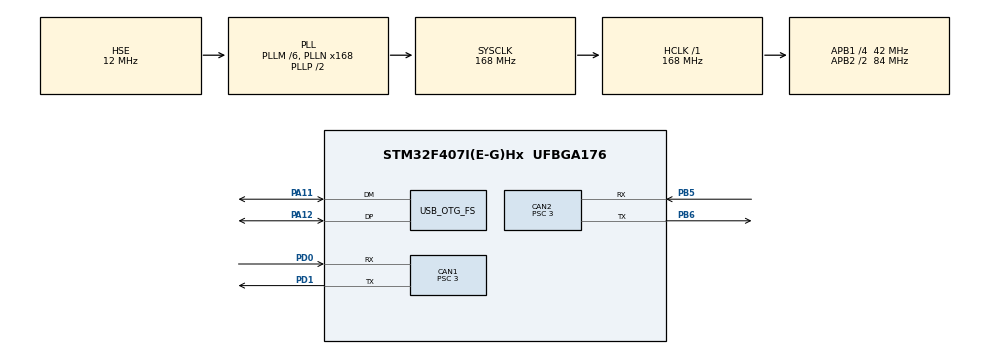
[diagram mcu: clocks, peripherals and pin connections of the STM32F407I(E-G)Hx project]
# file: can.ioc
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CAN1.BS1=CAN_BS1_10TQ
CAN1.BS2=CAN_BS2_3TQ
CAN1.CalculateBaudRate=1000000
CAN1.CalculateTimeBit=1000
CAN1.CalculateTimeQuantum=71.42857142857143
CAN1.Prescaler=3
CAN2.BS1=CAN_BS1_10TQ
CAN2.BS2=CAN_BS2_3TQ
CAN2.CalculateBaudRate=1000000
CAN2.CalculateTimeBit=1000
CAN2.CalculateTimeQuantum=71.42857142857143
CAN2.Prescaler=3
Mcu.Family=STM32F4
Mcu.Name=STM32F407I(E-G)Hx
Mcu.Package=UFBGA176
NVIC.CAN1_RX0_IRQn=true\:0\:0\:false\:false\:true\:true\:true\:true
NVIC.CAN2_RX0_IRQn=true\:0\:0\:false\:false\:true\:true\:true\:true
NVIC.OTG_FS_IRQn=true\:0\:0\:false\:false\:true\:false\:true\:true
NVIC.PriorityGroup=NVIC_PRIORITYGROUP_4
PA11.Mode=Device_Only
PA11.Signal=USB_OTG_FS_DM
PA12.Mode=Device_Only
PA12.Signal=USB_OTG_FS_DP
PA13.Mode=Serial_Wire
PA13.Signal=SYS_JTMS-SWDIO
PA14.Mode=Serial_Wire
PA14.Signal=SYS_JTCK-SWCLK
PB5.Mode=CAN_Activate
PB5.Signal=CAN2_RX
PB6.Mode=CAN_Activate
PB6.Signal=CAN2_TX
PD0.Mode=CAN_Activate
PD0.Signal=CAN1_RX
PD1.Mode=CAN_Activate
PD1.Signal=CAN1_TX
PH0-OSC_IN.Mode=HSE-External-Oscillator
PH0-OSC_IN.Signal=RCC_OSC_IN
PH1-OSC_OUT.Mode=HSE-External-Oscillator
PH1-OSC_OUT.Signal=RCC_OSC_OUT
ProjectManager.HeapSize=0x200
ProjectManager.StackSize=0x400
ProjectManager.TargetToolchain=MDK-ARM V5
RCC.48MHZClocksFreq_Value=48000000
RCC.AHBFreq_Value=168000000
RCC.APB1CLKDivider=RCC_HCLK_DIV4
RCC.APB1Freq_Value=42000000
RCC.APB1TimFreq_Value=84000000
RCC.APB2CLKDivider=RCC_HCLK_DIV2
RCC.APB2Freq_Value=84000000
RCC.APB2TimFreq_Value=168000000
RCC.CortexFreq_Value=168000000
RCC.HCLKFreq_Value=168000000
RCC.HSE_VALUE=12000000
RCC.HSI_VALUE=16000000
RCC.LSE_VALUE=32768
RCC.PLLM=6
RCC.PLLN=168
RCC.PLLQ=7
RCC.SYSCLKFreq_VALUE=168000000
RCC.SYSCLKSource=RCC_SYSCLKSOURCE_PLLCLK
RCC.VCOOutputFreq_Value=336000000
USB_DEVICE.CLASS_NAME_FS=CDC
USB_DEVICE.VirtualMode-CDC_FS=Cdc
USB_DEVICE.VirtualModeFS=Cdc_FS
USB_OTG_FS.VirtualMode=Device_Only
VP_USB_DEVICE_VS_USB_DEVICE_CDC_FS.Mode=CDC_FS
board=custom

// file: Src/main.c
/* USER CODE BEGIN Header */
/**
  ******************************************************************************
  * @file           : main.c
  * @brief          : Main program body
  ******************************************************************************
  * @attention
  *
  * <h2><center>&copy; Copyright (c) 2019 STMicroelectronics.
  * All rights reserved.</center></h2>
  *
  * This software component is licensed by ST under BSD 3-Clause license,
  * the "License"; You may not use this file except in compliance with the
  * License. You may obtain a copy of the License at:
  *                        opensource.org/licenses/BSD-3-Clause
  *
  ******************************************************************************
  */
/* USER CODE END Header */
#include "main.h"
#include "can.h"
#include "usb_device.h"
#include "gpio.h"

/* USER CODE BEGIN Includes */
#include "bsp_can.h"
#include "CAN_receive.h"
#include "stdio.h"
#include "usbd_cdc_if.h"

/* USER CODE END Includes */

/* USER CODE BEGIN PTD */
const motor_measure_t *motor_2006_t;
spin_record_typedef spin_record_t;
int set_speed = 1000;
struct {
	float kp;
	float ki;
	float kd;
	int16_t err;
	int16_t out;
}pid_t;
/* USER CODE END PTD */

/* USER CODE BEGIN PD */
int64_t motor_ecd_handler(void)
{
	static uint16_t temp_last_ecd;
	static int ecd_count ;  		//��̬���ۼ�
	static int64_t total_ecd;

	int32_t diff = (int32_t)motor_2006_t->ecd - (int32_t)temp_last_ecd;

	if(diff > 4096)
	{
		ecd_count--;
		diff -= 8192;

	}
	if(diff < -4096)
	{
		ecd_count++;
		diff += 8192;
	}

	total_ecd += diff;
	temp_last_ecd = motor_2006_t->ecd;
	return total_ecd;
}

void pid_cacl(int16_t set,int16_t feed){
	static int16_t iout;
	pid_t.err = set - feed;
	int32_t pout = (pid_t.kp*pid_t.err);
	if(pid_t.err > 20)iout += (int16_t)(pid_t.ki*pid_t.err);
	else iout = 0;
	int16_t dout = (int16_t)(pid_t.kd*pid_t.err);

	int32_t out = pout+iout+dout;

	if(out >10000)out = 10000;
	else if(out < -10000)out = -10000;

	pid_t.out = (int16_t)out;
}

void motor_foward(){
	pid_cacl(set_speed,motor_2006_t->speed_rpm);
	CAN_cmd_chassis(pid_t.out,0,0,0);
}

void motor_back(){
	pid_cacl(-set_speed,motor_2006_t->speed_rpm);
	CAN_cmd_chassis(pid_t.out,0,0,0);
}
void motor_stop(){
	pid_cacl(0,motor_2006_t->speed_rpm);
	CAN_cmd_chassis(pid_t.out,0,0,0);
}

/* USER CODE END PD */

void SystemClock_Config(void);

int main(void)
{

  /* MCU Configuration--------------------------------------------------------*/

  /* Reset of all peripherals, Initializes the Flash interface and the Systick. */
  HAL_Init();

  /* USER CODE BEGIN Init */
	int init_flag = 1;
	float init_degree = 0;
	motor_2006_t = get_chassis_motor_measure_point(0);
  /* USER CODE END Init */

  /* Configure the system clock */
  SystemClock_Config();

  /* Initialize all configured peripherals */
  MX_GPIO_Init();
  MX_CAN1_Init();
  MX_CAN2_Init();
  MX_USB_DEVICE_Init();
  /* USER CODE BEGIN 2 */
    can_filter_init();
	pid_t.kp = 10;
	set_speed = 8000;
	HAL_Delay(2000);
	usb_printf("will begin after 1 second ....");
	HAL_Delay(1000);
  /* USER CODE END 2 */

  /* Infinite loop */
  /* USER CODE BEGIN WHILE */
  while (1)
  {

	  spin_record_t.output_degree = (motor_ecd_handler()/8192.0f * 360.0f)/36.0f;

	  if(init_flag == 1)
	  {
		  init_degree = spin_record_t.output_degree;
		  init_flag = 0;
	  }

//	  if(spin_record_t.output_degree < 360.0f * cnt){
//			motor_foward();
//
//	  }
//	  else motor_stop();
//
//	  HAL_Delay(1);

		if (spin_record_t.cnt_120 < 300000) {
			if (spin_record_t.foward_flag == 1) { // ��ת
				if (spin_record_t.output_degree < 120.0f + init_degree) {
					 motor_foward();// ��ת���
				} else {
					motor_stop();
					spin_record_t.foward_flag = 0; // �л�Ϊ��ת

				}
			} else { // ��ת
				if (spin_record_t.output_degree > 0.0f + init_degree) {
					 motor_back();// ��ת���
				} else {
					motor_stop();
					spin_record_t.foward_flag = 1; // �л�Ϊ��ת
					spin_record_t.cnt_120++;
					usb_printf("120count: %d / 300000",spin_record_t.cnt_120);
				}
			}
		}
		if (spin_record_t.cnt_540 < 3000) {
			if (spin_record_t.foward_flag == 1) { // ��ת
				if (spin_record_t.output_degree < 540.0f +init_degree) {
					 motor_foward();// ��ת���
				} else {
					motor_stop();
					spin_record_t.foward_flag = 0; // �л�Ϊ��ת

				}
			} else { // ��ת
				if (spin_record_t.output_degree > 0.0f + init_degree) {
					 motor_back();// ��ת���
				} else {
					motor_stop();
					spin_record_t.foward_flag = 1; // �л�Ϊ��ת
					spin_record_t.cnt_540++;
					usb_printf("540count: %d / 3000",spin_record_t.cnt_540);
				}
			}
		}
		if (spin_record_t.cnt_540 >= 3000 && spin_record_t.cnt_120 >= 300000)motor_stop();
	  HAL_Delay(1);

    /* USER CODE END WHILE */

  }
}

void SystemClock_Config(void)
{
  RCC_OscInitTypeDef RCC_OscInitStruct = {0};
  RCC_ClkInitTypeDef RCC_ClkInitStruct = {0};

  /** Configure the main internal regulator output voltage
  */
  __HAL_RCC_PWR_CLK_ENABLE();
  __HAL_PWR_VOLTAGESCALING_CONFIG(PWR_REGULATOR_VOLTAGE_SCALE1);

  /** Initializes the RCC Oscillators according to the specified parameters
  * in the RCC_OscInitTypeDef structure.
  */
  RCC_OscInitStruct.OscillatorType = RCC_OSCILLATORTYPE_HSE;
  RCC_OscInitStruct.HSEState = RCC_HSE_ON;
  RCC_OscInitStruct.PLL.PLLState = RCC_PLL_ON;
  RCC_OscInitStruct.PLL.PLLSource = RCC_PLLSOURCE_HSE;
  RCC_OscInitStruct.PLL.PLLM = 6;
  RCC_OscInitStruct.PLL.PLLN = 168;
  RCC_OscInitStruct.PLL.PLLP = RCC_PLLP_DIV2;
  RCC_OscInitStruct.PLL.PLLQ = 7;
  if (HAL_RCC_OscConfig(&RCC_OscInitStruct) != HAL_OK)
  {
    Error_Handler();
  }

  /** Initializes the CPU, AHB and APB buses clocks
  */
  RCC_ClkInitStruct.ClockType = RCC_CLOCKTYPE_HCLK|RCC_CLOCKTYPE_SYSCLK
                              |RCC_CLOCKTYPE_PCLK1|RCC_CLOCKTYPE_PCLK2;
  RCC_ClkInitStruct.SYSCLKSource = RCC_SYSCLKSOURCE_PLLCLK;
  RCC_ClkInitStruct.AHBCLKDivider = RCC_SYSCLK_DIV1;
  RCC_ClkInitStruct.APB1CLKDivider = RCC_HCLK_DIV4;
  RCC_ClkInitStruct.APB2CLKDivider = RCC_HCLK_DIV2;

  if (HAL_RCC_ClockConfig(&RCC_ClkInitStruct, FLASH_LATENCY_5) != HAL_OK)
  {
    Error_Handler();
  }
}

void Error_Handler(void)
{
}
